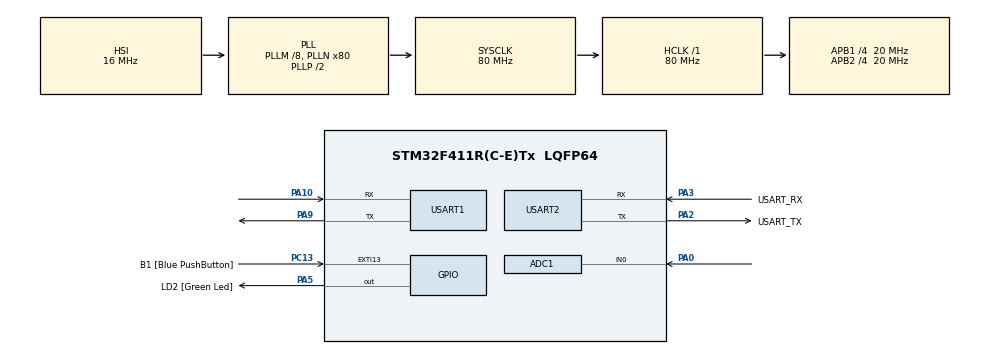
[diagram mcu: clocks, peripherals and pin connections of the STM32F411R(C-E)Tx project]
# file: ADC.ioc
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ADC1.Channel-0\#ChannelRegularConversion=ADC_CHANNEL_0
ADC1.ClockPrescaler=ADC_CLOCK_SYNC_PCLK_DIV8
ADC1.ContinuousConvMode=ENABLE
ADC1.EOCSelection=ADC_EOC_SEQ_CONV
ADC1.InjNumberOfConversion=0
ADC1.NbrOfConversion=1
ADC1.NbrOfConversionFlag=1
ADC1.Rank-0\#ChannelRegularConversion=1
ADC1.Resolution=ADC_RESOLUTION_10B
ADC1.SamplingTime-0\#ChannelRegularConversion=ADC_SAMPLETIME_3CYCLES
ADC1.ScanConvMode=ENABLE
ADC1.master=1
Mcu.Family=STM32F4
Mcu.Name=STM32F411R(C-E)Tx
Mcu.Package=LQFP64
NVIC.ADC_IRQn=true\:0\:0\:false\:false\:true\:true\:true
NVIC.PriorityGroup=NVIC_PRIORITYGROUP_0
NVIC.USART2_IRQn=true\:0\:0\:false\:false\:true\:true\:true
PA0-WKUP.Signal=ADCx_IN0
PA10.Mode=Asynchronous
PA10.Signal=USART1_RX
PA13.GPIO_Label=TMS
PA13.Mode=Serial_Wire
PA13.Signal=SYS_JTMS-SWDIO
PA14.GPIO_Label=TCK
PA14.Mode=Serial_Wire
PA14.Signal=SYS_JTCK-SWCLK
PA2.GPIO_Label=USART_TX
PA2.Mode=Asynchronous
PA2.Signal=USART2_TX
PA3.GPIO_Label=USART_RX
PA3.Mode=Asynchronous
PA3.Signal=USART2_RX
PA5.GPIO_Label=LD2 [Green Led]
PA5.Signal=GPIO_Output
PA9.Mode=Asynchronous
PA9.Signal=USART1_TX
PB3.GPIO_Label=SWO
PB3.Signal=SYS_JTDO-SWO
PC13-ANTI_TAMP.GPIO_Label=B1 [Blue PushButton]
PC13-ANTI_TAMP.GPIO_ModeDefaultEXTI=GPIO_MODE_IT_FALLING
PC13-ANTI_TAMP.Signal=GPXTI13
PC14-OSC32_IN.Mode=LSE-External-Oscillator
PC14-OSC32_IN.Signal=RCC_OSC32_IN
PC15-OSC32_OUT.Mode=LSE-External-Oscillator
PC15-OSC32_OUT.Signal=RCC_OSC32_OUT
PH0\ -\ OSC_IN.Mode=HSE-External-Clock-Source
PH0\ -\ OSC_IN.Signal=RCC_OSC_IN
PH1\ -\ OSC_OUT.Mode=HSE-External-Clock-Source
PH1\ -\ OSC_OUT.Signal=RCC_OSC_OUT
ProjectManager.HeapSize=0x200
ProjectManager.StackSize=0x400
ProjectManager.TargetToolchain=STM32CubeIDE
RCC.48MHZClocksFreq_Value=40000000
RCC.AHBFreq_Value=80000000
RCC.APB1CLKDivider=RCC_HCLK_DIV4
RCC.APB1Freq_Value=20000000
RCC.APB1TimFreq_Value=40000000
RCC.APB2CLKDivider=RCC_HCLK_DIV4
RCC.APB2Freq_Value=20000000
RCC.APB2TimFreq_Value=40000000
RCC.CortexFreq_Value=80000000
RCC.FLatency-AdvancedSettings=FLASH_LATENCY_2
RCC.HCLKFreq_Value=80000000
RCC.HSE_VALUE=8000000
RCC.HSI_VALUE=16000000
RCC.PLLM=8
RCC.PLLN=80
RCC.SYSCLKFreq_VALUE=80000000
RCC.SYSCLKSource=RCC_SYSCLKSOURCE_PLLCLK
RCC.VCOOutputFreq_Value=160000000
SH.ADCx_IN0.0=ADC1_IN0,IN0
TIM1.Prescaler=40000 - 1
USART1.VirtualMode=VM_ASYNC
USART2.VirtualMode=VM_ASYNC
VP_TIM1_VS_ClockSourceINT.Mode=Internal
board=NUCLEO-F411RE

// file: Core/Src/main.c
/* USER CODE BEGIN Header */
/**
  ******************************************************************************
  * @file           : main.c
  * @brief          : Main program body
  ******************************************************************************
  * @attention
  *
  * <h2><center>&copy; Copyright (c) 2020 STMicroelectronics.
  * All rights reserved.</center></h2>
  *
  * This software component is licensed by ST under BSD 3-Clause license,
  * the "License"; You may not use this file except in compliance with the
  * License. You may obtain a copy of the License at:
  *                        opensource.org/licenses/BSD-3-Clause
  *
  ******************************************************************************
  */
/* USER CODE END Header */
#include "main.h"

/* USER CODE BEGIN PD */

#define RELAY_ON 1
#define RELAY_OFF 0
#define RELAY_GPIO GPIOA
#define RELAY_PIN GPIO_PIN_5

#define LED_WHITE 2
#define LED_NORMAL 1
#define LED_WATERING 0
/* USER CODE END PD */

ADC_HandleTypeDef hadc1;

TIM_HandleTypeDef htim1;

UART_HandleTypeDef huart1;
UART_HandleTypeDef huart2;

void SystemClock_Config(void);
static void MX_GPIO_Init(void);
static void MX_USART2_UART_Init(void);
static void MX_ADC1_Init(void);
static void MX_TIM1_Init(void);
static void MX_USART1_UART_Init(void);

/* USER CODE BEGIN 0 */
char rxData[20];

uint8_t forceRelayOn_FLAG = 0;
uint8_t autoWatering_FLAG = 1;
uint8_t debugMode_FLAG = 0;
uint8_t lightOn_FLAG = 1;

void setLed(uint8_t lightingState) { // 1 == normal , 0 == watering
	if (!lightOn_FLAG) {
		// Lighting mode 'c'
		char x = 'c';
		HAL_UART_Transmit(&huart1,&x,1,100);
		return;
	}
	if (lightingState == LED_NORMAL) {
		// Lighting mode 'a'
		char x = 'a';
		HAL_UART_Transmit(&huart1,&x,1,100);
	}
	else if (lightingState == LED_WATERING) {
		// Lighting mode 'b'
		char x = 'b';
		HAL_UART_Transmit(&huart1,&x,1,100);
	}
	else {
		// Lighting mode 'c' -> white light
		char x = 'c';
		HAL_UART_Transmit(&huart1,&x,1,100);
	}
}

void setRelay(uint8_t relayState) {
	if (forceRelayOn_FLAG) {
		setLed(LED_NORMAL);
		HAL_GPIO_WritePin(RELAY_GPIO, RELAY_PIN, GPIO_PIN_SET);
		return;
	}
	if (autoWatering_FLAG) {
		if (relayState == RELAY_ON) {
			setLed(LED_WATERING);
			HAL_GPIO_WritePin(RELAY_GPIO, RELAY_PIN, GPIO_PIN_SET); // Lighting mode 'b'
		}
		else {
			setLed(LED_NORMAL);
			HAL_GPIO_WritePin(RELAY_GPIO, RELAY_PIN, GPIO_PIN_RESET); // Lighting mode 'a'
		}
	}
	else {
		setLed(LED_NORMAL);
		HAL_GPIO_WritePin(RELAY_GPIO, RELAY_PIN, GPIO_PIN_RESET); // Lighting mode 'a'
	}
}

double dp = 0;
double alpha = 0.9;
uint16_t timer_last_Dry;
uint16_t timer_StartRelay = 0;
uint8_t relayFlag = 0;
uint16_t PumpWorkingTime = 10000;
uint16_t lastProcessTime = 0;
void adcCallback(){

	if (__HAL_TIM_GET_COUNTER(&htim1) - lastProcessTime < 100) { // IRQ block other codes thus 100ms delay for each execute
		return;
	}
	lastProcessTime = __HAL_TIM_GET_COUNTER(&htim1);
	if (relayFlag){ // && __HAL_TIM_GET_COUNTER(&htim1) - timer_StartRelay < PumpWorkingTime) {
		//HAL_GPIO_WritePin(GPIOA, GPIO_PIN_5, GPIO_PIN_SET);
		setRelay(RELAY_ON);
	}
	else {
		relayFlag = 0;
		//HAL_GPIO_WritePin(GPIOA, GPIO_PIN_5, GPIO_PIN_RESET);
		setRelay(RELAY_OFF);
	}

	uint32_t readValue = HAL_ADC_GetValue(&hadc1);

	// Some Dynamic Programming
	// f(n) = alpha* f(n-1) + nowValue * (1 - alpha);
	double smoothValue = dp * alpha + readValue * (1 - alpha);
	dp = smoothValue;
	//
	if (debugMode_FLAG){
		char out[50];
		for (int i = 0 ; i< 50 ; i++) out[i] = 0;

		sprintf(out,"Raw : %d",readValue);
		HAL_UART_Transmit(&huart2,(uint32_t *) out,50,100);

		sprintf(out," Smooth: %d\n\r",(int) smoothValue);
		HAL_UART_Transmit(&huart2,(uint32_t *) out,50,100);
	}

	// Mode 1 Force Pump to turn ON
	// Mode 2 Water when Moisure Value less than xxx  until yyy value
	// if 500 < val < 900 for 5 second .. Trigger pump until val < 300
	// Mode 3 Force pump to turn off
	// Make sure that measure value not A noise
	if (!relayFlag && ! (smoothValue > 500 && smoothValue < 900)) {
		timer_last_Dry = __HAL_TIM_GET_COUNTER(&htim1);
		relayFlag = 0;
	}
	else if (relayFlag && ! (smoothValue > 300 && smoothValue < 900)){
		timer_last_Dry = __HAL_TIM_GET_COUNTER(&htim1);
		relayFlag = 0;
	}
	else {
		// Dry Case
		uint16_t escapeTime = __HAL_TIM_GET_COUNTER(&htim1) - timer_last_Dry;
		// 1 timer tick = 0.001 second
		if (escapeTime > 5000) {// (5 Second) / (0.001 Second/Tick)
			relayFlag = 1;
			timer_StartRelay = __HAL_TIM_GET_COUNTER(&htim1);
		}
	}

}

// -----------------------  END PUMP-SOIL SYSTEM ---------------------------------------

// -----------------------  END HUMUDITY-FAN SYSTEM ------------------------------------

void HAL_UART_RxCpltCallback(UART_HandleTypeDef *huart){
	//if (rxData[0] == '1') debugMode_FLAG = 1;
	//else if (rxData[0] == '0') debugMode_FLAG = 0;
	char out[150];
	for (int i = 0 ; i < 150 ; i++) out[i] = 0;
	switch (rxData[0] - 'a') {
		case 0:
			forceRelayOn_FLAG = 1;
			break;
		case 1:
			forceRelayOn_FLAG = 0;
			break;
		case 2:
			autoWatering_FLAG = 1;
			break;
		case 3:
			autoWatering_FLAG = 0;
			break;
		case 4:
			debugMode_FLAG = 1;
			break;
		case 5:
			debugMode_FLAG = 0;
			break;
		case 6:
			lightOn_FLAG = 1;
			break;
		case 7:
			lightOn_FLAG = 0;
			break;
		default :
			break;
	}
	sprintf(out,"--------Information---------\n\rforcePumpOn (a,b) : %d\n\rautoWatering (c,d) : %d\n\rdebugMode_FLAG (e,f): %d\n\rlightOn (g,h) : %d\n\r",
			(int) forceRelayOn_FLAG,
			(int) autoWatering_FLAG,
			(int) debugMode_FLAG ,
			(int) lightOn_FLAG
			);
	HAL_UART_Transmit(&huart2,(uint32_t *) out,150,200);
	HAL_UART_Receive_IT(&huart2, rxData, 1);
}
/* USER CODE END 0 */

int main(void)
{

  /* MCU Configuration--------------------------------------------------------*/

  /* Reset of all peripherals, Initializes the Flash interface and the Systick. */
  HAL_Init();

  /* Configure the system clock */
  SystemClock_Config();

  /* Initialize all configured peripherals */
  MX_GPIO_Init();
  MX_USART2_UART_Init();
  MX_ADC1_Init();
  MX_TIM1_Init();
  MX_USART1_UART_Init();
  /* USER CODE BEGIN 2 */
  //HAL_ADC_Start(&hadc1);
  HAL_TIM_Base_Start(&htim1);
  HAL_UART_Receive_IT(&huart2, rxData, 1);
  HAL_ADC_Start_IT(&hadc1);
  /* USER CODE END 2 */

  /* Infinite loop */
  /* USER CODE BEGIN WHILE */
  while (1);
  /* USER CODE END 3 */
}

void SystemClock_Config(void)
{
  RCC_OscInitTypeDef RCC_OscInitStruct = {0};
  RCC_ClkInitTypeDef RCC_ClkInitStruct = {0};

  /** Configure the main internal regulator output voltage
  */
  __HAL_RCC_PWR_CLK_ENABLE();
  __HAL_PWR_VOLTAGESCALING_CONFIG(PWR_REGULATOR_VOLTAGE_SCALE1);
  /** Initializes the RCC Oscillators according to the specified parameters
  * in the RCC_OscInitTypeDef structure.
  */
  RCC_OscInitStruct.OscillatorType = RCC_OSCILLATORTYPE_HSI;
  RCC_OscInitStruct.HSIState = RCC_HSI_ON;
  RCC_OscInitStruct.HSICalibrationValue = RCC_HSICALIBRATION_DEFAULT;
  RCC_OscInitStruct.PLL.PLLState = RCC_PLL_ON;
  RCC_OscInitStruct.PLL.PLLSource = RCC_PLLSOURCE_HSI;
  RCC_OscInitStruct.PLL.PLLM = 8;
  RCC_OscInitStruct.PLL.PLLN = 80;
  RCC_OscInitStruct.PLL.PLLP = RCC_PLLP_DIV2;
  RCC_OscInitStruct.PLL.PLLQ = 4;
  if (HAL_RCC_OscConfig(&RCC_OscInitStruct) != HAL_OK)
  {
    Error_Handler();
  }
  /** Initializes the CPU, AHB and APB buses clocks
  */
  RCC_ClkInitStruct.ClockType = RCC_CLOCKTYPE_HCLK|RCC_CLOCKTYPE_SYSCLK
                              |RCC_CLOCKTYPE_PCLK1|RCC_CLOCKTYPE_PCLK2;
  RCC_ClkInitStruct.SYSCLKSource = RCC_SYSCLKSOURCE_PLLCLK;
  RCC_ClkInitStruct.AHBCLKDivider = RCC_SYSCLK_DIV1;
  RCC_ClkInitStruct.APB1CLKDivider = RCC_HCLK_DIV4;
  RCC_ClkInitStruct.APB2CLKDivider = RCC_HCLK_DIV4;

  if (HAL_RCC_ClockConfig(&RCC_ClkInitStruct, FLASH_LATENCY_2) != HAL_OK)
  {
    Error_Handler();
  }
}

static void MX_ADC1_Init(void)
{

  ADC_ChannelConfTypeDef sConfig = {0};

  /** Configure the global features of the ADC (Clock, Resolution, Data Alignment and number of conversion)
  */
  hadc1.Instance = ADC1;
  hadc1.Init.ClockPrescaler = ADC_CLOCK_SYNC_PCLK_DIV8;
  hadc1.Init.Resolution = ADC_RESOLUTION_10B;
  hadc1.Init.ScanConvMode = ENABLE;
  hadc1.Init.ContinuousConvMode = ENABLE;
  hadc1.Init.DiscontinuousConvMode = DISABLE;
  hadc1.Init.ExternalTrigConvEdge = ADC_EXTERNALTRIGCONVEDGE_NONE;
  hadc1.Init.ExternalTrigConv = ADC_SOFTWARE_START;
  hadc1.Init.DataAlign = ADC_DATAALIGN_RIGHT;
  hadc1.Init.NbrOfConversion = 1;
  hadc1.Init.DMAContinuousRequests = DISABLE;
  hadc1.Init.EOCSelection = ADC_EOC_SEQ_CONV;
  if (HAL_ADC_Init(&hadc1) != HAL_OK)
  {
    Error_Handler();
  }
  /** Configure for the selected ADC regular channel its corresponding rank in the sequencer and its sample time.
  */
  sConfig.Channel = ADC_CHANNEL_0;
  sConfig.Rank = 1;
  sConfig.SamplingTime = ADC_SAMPLETIME_3CYCLES;
  if (HAL_ADC_ConfigChannel(&hadc1, &sConfig) != HAL_OK)
  {
    Error_Handler();
  }

}

static void MX_TIM1_Init(void)
{

  TIM_ClockConfigTypeDef sClockSourceConfig = {0};
  TIM_MasterConfigTypeDef sMasterConfig = {0};

  htim1.Instance = TIM1;
  htim1.Init.Prescaler = 40000 - 1;
  htim1.Init.CounterMode = TIM_COUNTERMODE_UP;
  htim1.Init.Period = 65535;
  htim1.Init.ClockDivision = TIM_CLOCKDIVISION_DIV1;
  htim1.Init.RepetitionCounter = 0;
  htim1.Init.AutoReloadPreload = TIM_AUTORELOAD_PRELOAD_DISABLE;
  if (HAL_TIM_Base_Init(&htim1) != HAL_OK)
  {
    Error_Handler();
  }
  sClockSourceConfig.ClockSource = TIM_CLOCKSOURCE_INTERNAL;
  if (HAL_TIM_ConfigClockSource(&htim1, &sClockSourceConfig) != HAL_OK)
  {
    Error_Handler();
  }
  sMasterConfig.MasterOutputTrigger = TIM_TRGO_RESET;
  sMasterConfig.MasterSlaveMode = TIM_MASTERSLAVEMODE_DISABLE;
  if (HAL_TIMEx_MasterConfigSynchronization(&htim1, &sMasterConfig) != HAL_OK)
  {
    Error_Handler();
  }

}

static void MX_USART1_UART_Init(void)
{

  huart1.Instance = USART1;
  huart1.Init.BaudRate = 115200;
  huart1.Init.WordLength = UART_WORDLENGTH_8B;
  huart1.Init.StopBits = UART_STOPBITS_1;
  huart1.Init.Parity = UART_PARITY_NONE;
  huart1.Init.Mode = UART_MODE_TX_RX;
  huart1.Init.HwFlowCtl = UART_HWCONTROL_NONE;
  huart1.Init.OverSampling = UART_OVERSAMPLING_16;
  if (HAL_UART_Init(&huart1) != HAL_OK)
  {
    Error_Handler();
  }

}

static void MX_USART2_UART_Init(void)
{

  huart2.Instance = USART2;
  huart2.Init.BaudRate = 115200;
  huart2.Init.WordLength = UART_WORDLENGTH_8B;
  huart2.Init.StopBits = UART_STOPBITS_1;
  huart2.Init.Parity = UART_PARITY_NONE;
  huart2.Init.Mode = UART_MODE_TX_RX;
  huart2.Init.HwFlowCtl = UART_HWCONTROL_NONE;
  huart2.Init.OverSampling = UART_OVERSAMPLING_16;
  if (HAL_UART_Init(&huart2) != HAL_OK)
  {
    Error_Handler();
  }

}

static void MX_GPIO_Init(void)
{
  GPIO_InitTypeDef GPIO_InitStruct = {0};

  /* GPIO Ports Clock Enable */
  __HAL_RCC_GPIOC_CLK_ENABLE();
  __HAL_RCC_GPIOH_CLK_ENABLE();
  __HAL_RCC_GPIOA_CLK_ENABLE();
  __HAL_RCC_GPIOB_CLK_ENABLE();

  /*Configure GPIO pin Output Level */
  HAL_GPIO_WritePin(LD2_GPIO_Port, LD2_Pin, GPIO_PIN_RESET);

  /*Configure GPIO pin : B1_Pin */
  GPIO_InitStruct.Pin = B1_Pin;
  GPIO_InitStruct.Mode = GPIO_MODE_IT_FALLING;
  GPIO_InitStruct.Pull = GPIO_NOPULL;
  HAL_GPIO_Init(B1_GPIO_Port, &GPIO_InitStruct);

  /*Configure GPIO pin : LD2_Pin */
  GPIO_InitStruct.Pin = LD2_Pin;
  GPIO_InitStruct.Mode = GPIO_MODE_OUTPUT_PP;
  GPIO_InitStruct.Pull = GPIO_NOPULL;
  GPIO_InitStruct.Speed = GPIO_SPEED_FREQ_LOW;
  HAL_GPIO_Init(LD2_GPIO_Port, &GPIO_InitStruct);

}

void Error_Handler(void)
{
}

/************************ (C) COPYRIGHT STMicroelectronics *****END OF FILE****/
